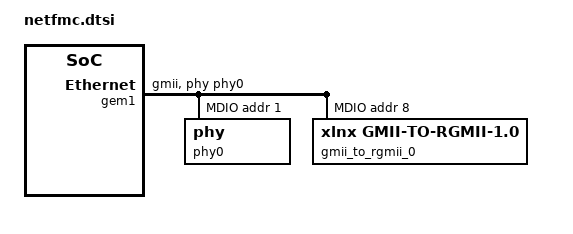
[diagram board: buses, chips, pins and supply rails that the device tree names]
&gem1 {
    phy-handle = <&phy0>;
    phy-mode = "gmii";
    status = "okay";
    xlnx,ptp-enet-clock = <0x0>;
    
    psu_ethernet_1_mdio: mdio {
        #address-cells = <1>;
        #size-cells = <0>;
        
	phy0: phy@0 {
	   device_type = "ethernet-phy";
	   reg = <1>;
	   /* Delays are relative to the observation made from the PHY */
	   /* Delay values can be made with increments of 60ps for KSZ9031RNX PHY. */
	   rxc-skew-ps = <1860>; /* Skew control of RX_CLK pad output */
	   txc-skew-ps = <900>; /* Skew control of GTX_CLK pad input */
	   txen-skew-ps = <900>; /* Skew control of TX_CTL pad input */
	   rxdv-skew-ps = <0>; /* Skew control of RX_CTL pad output */
	   rxd0-skew-ps = <0>; /* Skew control of RXD0 pad output */
	   rxd1-skew-ps = <0>; /* Skew control of RXD1 pad output */
	   rxd2-skew-ps = <0>; /* Skew control of RXD2 pad output */
	   rxd3-skew-ps = <0>; /* Skew control of RXD3 pad output */
	   txd0-skew-ps = <900>; /* Skew control of TXD0 pad input */
	   txd1-skew-ps = <900>; /* Skew control of TXD1 pad input */
	   txd2-skew-ps = <900>; /* Skew control of TXD2 pad input */
	   txd3-skew-ps = <900>; /* Skew control of TXD3 pad input */
	};
        
	gmii_to_rgmii_0: gmii_to_rgmii_0@8 {
	   compatible = "xlnx,gmii-to-rgmii-1.0";
	   phy-handle = <&phy0>;
           reg = <8>;
        };
    };
};

&gem3 {
	phy-mode = "rgmii-id";
	status = "disabled";
	xlnx,ptp-enet-clock = <0x0>;
};
